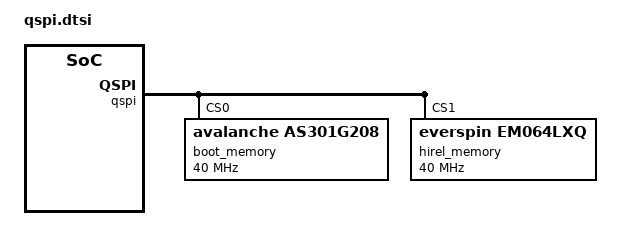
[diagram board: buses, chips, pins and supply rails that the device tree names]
&qspi {
	status = "okay";

	/* CIPS uses Dual Stacked, but CS0 and CS1 are independent memories. */
	/delete-property/ is-stacked;
	/delete-property/ is-dual;

	/* Keep PLM fallback reads within the CS0 boot memory. */
	/delete-property/ xlnx,connection-mode;
	/delete-property/ xlnx,qspi-mode;
	xlnx,connection-mode = <0>;
	xlnx,qspi-mode = <0>;

	boot_memory: flash@0 {
		#address-cells = <1>;
		#size-cells = <1>;
		compatible = "avalanche,as301g208", "jedec,spi-nor";
		reg = <0>;
		spi-tx-bus-width = <1>;
		spi-rx-bus-width = <4>;
		spi-max-frequency = <40000000>;
	};

	hirel_memory: flash@1 {
		#address-cells = <1>;
		#size-cells = <1>;
		compatible = "everspin,em064lxq", "jedec,spi-nor";
		reg = <1>;
		spi-tx-bus-width = <1>;
		spi-rx-bus-width = <4>;
		spi-max-frequency = <40000000>;
	};
};
